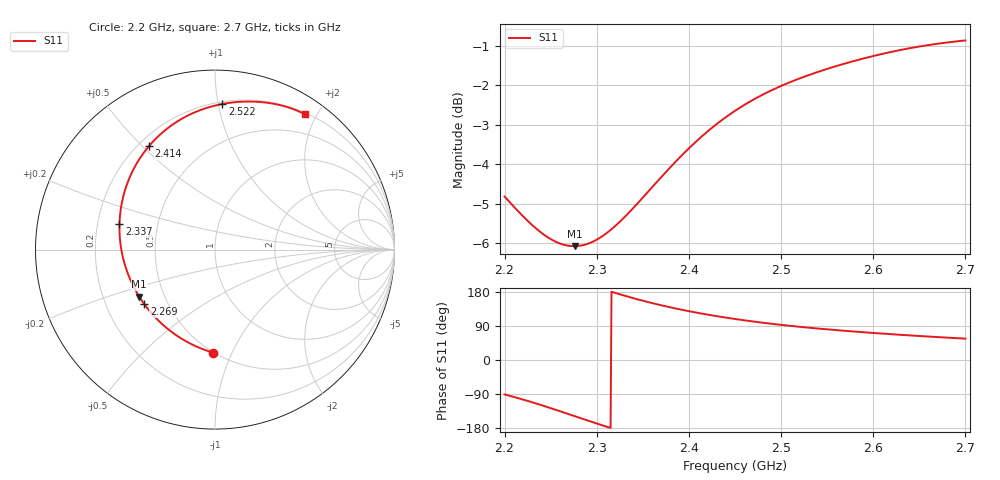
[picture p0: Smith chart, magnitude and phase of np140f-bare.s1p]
! PRELIMINARY bare PCB unless shell_eps > 0; see README.md
! L220 output ($1N324); all Gerber copper, components omitted (C216/L220/C217 not populated)
# Hz S RI R 50
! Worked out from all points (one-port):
!   501 points, 2.2 GHz to 2.7 GHz, reference 50 ohm
!   lowest |S11| = -6.1 dB at 2.276 GHz (marker M1), VSWR 2.97, Z = 18 - j12.5 ohm
!   |S11| at or under -10 dB: nowhere
!   S11 on the Smith chart (normalised r, x): 2.2 GHz: 0.50, -0.85; 2.269 GHz: 0.37, -0.30; 2.337 GHz: 0.29, +0.12; 2.414 GHz: 0.24, +0.52; 2.522 GHz: 0.22, +1.03; 2.7 GHz: 0.22, +1.85
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2.2e9  -0.0094 -0.574
2.214e9  -0.0977 -0.5424
2.23e9  -0.1947 -0.491
2.246e9  -0.2844 -0.424
2.263e9  -0.368 -0.3374
2.269e9  -0.3941 -0.3035
2.276e9  -0.4219 -0.2622
2.289e9  -0.4658 -0.1808
2.301e9  -0.4968 -0.1018
2.313e9  -0.5181 -0.0205
2.325e9  -0.5299 0.0617
2.337e9  -0.5322 0.1432
2.349e9  -0.5254 0.2228
2.361e9  -0.5103 0.2993
2.374e9  -0.4855 0.3775
2.388e9  -0.4502 0.455
2.414e9  -0.3668 0.5778
2.432e9  -0.3003 0.646
2.45e9  -0.2303 0.7006
2.48e9  -0.113 0.7647
2.513e9  0.00903 0.8046
2.522e9  0.0403 0.8112
2.547e9  0.1227 0.8222
2.575e9  0.2071 0.8247
2.606e9  0.2924 0.8181
2.638e9  0.372 0.8027
2.671e9  0.4452 0.7792
2.7e9  0.5017 0.754
